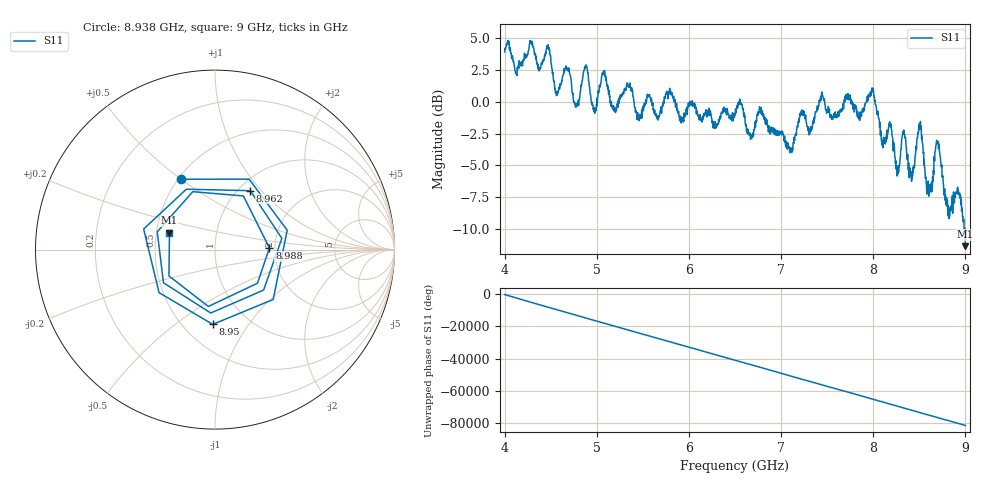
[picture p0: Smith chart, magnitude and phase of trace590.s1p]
! Created with skrf 1.8.0 (http://scikit-rf.org).
# Hz S RI R 50.0
!freq ReS11 ImS11
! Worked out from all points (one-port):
!   1601 points, 4 GHz to 9 GHz, reference 50 ohm
!   lowest |S11| = -11.3 dB at 9 GHz (marker M1), VSWR 1.74, Z = 29.3 + j6 ohm
!   |S11| at or under -10 dB: 8.986469 GHz to 8.993547 GHz (7.079 MHz wide, 0.0787 % of centre); 8.994329 GHz to end of sweep
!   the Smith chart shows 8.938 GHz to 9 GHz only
!   S11 on the Smith chart (normalised r, x): 8.938 GHz: 0.52, +0.50; 8.95 GHz: 0.69, -0.69; 8.962 GHz: 1.13, +0.87; 8.988 GHz: 1.87, +0.04; 9 GHz: 0.59, +0.12
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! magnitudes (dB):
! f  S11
! 4 GHz  3.9
! 4.128 GHz  2.1
! 4.472 GHz  4.5
! 4.559 GHz  0.7
! 4.625 GHz  1.8
! 4.778 GHz  -0.2
! 4.878 GHz  2.7
! 4.969 GHz  -0.6
! 5.25 GHz  0.4
! 5.875 GHz  -0.6
! 6.5 GHz  -1.0
! 7.125 GHz  -3.8
! 7.225 GHz  -0.7
! 7.75 GHz  0.5
! 7.991 GHz  1.0
! 8.259 GHz  -5.8
! 8.328 GHz  -2.5
! 8.375 GHz  -4.1
! 8.428 GHz  -5.8
! 8.503 GHz  -2.2
! 8.603 GHz  -7.4
! 8.697 GHz  -3.1
! 8.812 GHz  -8.2
! 8.938 GHz  -7.2
! 8.95 GHz  -7.6
! 8.962 GHz  -8.3
! 8.988 GHz  -10.4
! 9 GHz  -11.3
